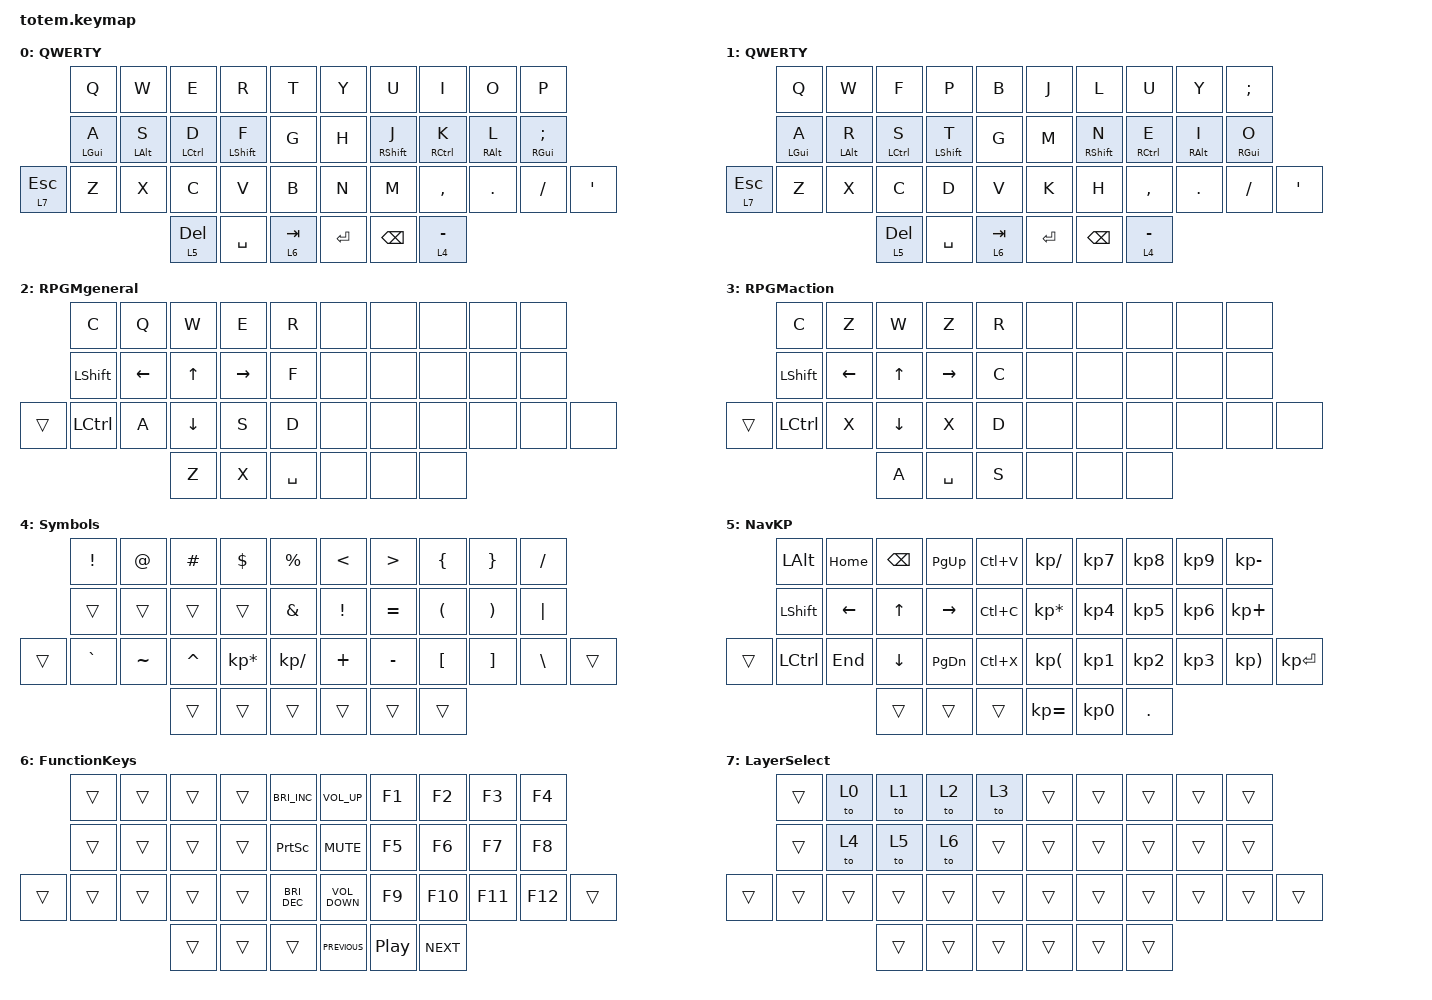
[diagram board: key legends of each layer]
//
//                                                        ▀▀▀▀▀     ▀▀▀▀▀          ▀▀█▀▀
//                                                        ▄▀▀▀▄  ▄  ▄▀▀▀▄  ▄  ▄▀▀▀▄  █  ▄▀▀▀▄
//                                                        █   █  █  █   █  █  █   █  █  █   █
//                                                         ▀▀▀   █   ▀▀▀   █   ▀▀▀   ▀   ▀▀▀
//                                                               █      ▄▄▄█▄▄▄    █   █  
//                                                               ▀      █  █  █     █▄█
//                                                             ▀▀▀▀▀    █  █  █      ▀
//                                                                      ▀  ▀  ▀
//
// ▄▄▄▄▄▄▄▄▄▄▄▄▄▄▄▄▄▄▄▄▄▄▄▄▄▄▄▄▄▄▄▄▄▄▄▄▄▄▄▄▄▄▄▄▄▄▄▄▄▄▄▄▄▄▄▄▄▄▄▄▄▄▄▄▄▄▄▄▄▄▄▄▄▄▄▄▄▄▄▄▄▄▄▄▄▄▄▄▄▄▄▄▄▄▄▄▄▄▄▄▄▄▄▄▄▄▄▄▄▄▄▄▄▄▄▄▄▄▄▄▄▄▄▄▄▄▄▄▄▄▄▄▄▄▄▄▄▄▄▄▄▄▄▄▄▄▄▄▄

#include <behaviors.dtsi>
#include <dt-bindings/zmk/keys.h>

#define Base        0
#define Nav         1
#define Sym         2
#define Fun         3
#define Game        4
#define Gameplus    5

&mt {
    quick-tap-ms = <100>;
    global-quick-tap;
    flavor = "tap-preferred";
    tapping-term-ms = <170>;
};

&lt {
    tapping-term-ms = <240>;
    flavor = "balanced";
    quick-tap-ms = <150>;
};

/ {
    behaviors {
        hm: homerow_mods {
            compatible = "zmk,behavior-hold-tap";
            label = "HOMEROW_MODS";
            #binding-cells = <2>;
            flavor = "tap-preferred";
            tapping-term-ms = <200>;
            quick-tap-ms = <125>;
            global-quick-tap;
            bindings = <&kp>, <&kp>;
        };
    };

    combos { compatible = "zmk,combos"; };

    keymap {
        compatible = "zmk,keymap";

        QWERTY {
            display-name = "QWERTY";
            bindings = <
              &kp Q       &kp W       &kp E         &kp R             &kp T        &kp Y    &kp U              &kp I        &kp O       &kp P
              &hm LGUI A  &hm LALT S  &hm LCTRL D   &hm LEFT_SHIFT F  &kp G        &kp H    &hm RIGHT_SHIFT J  &hm RCTRL K  &hm RALT L  &hm RGUI SEMICOLON
&lt 7 ESCAPE  &kp Z       &kp X       &kp C         &kp V             &kp B        &kp N    &kp M              &kp COMMA    &kp DOT     &kp SLASH           &kp APOSTROPHE
                                      &lt 5 DELETE  &kp SPACE         &lt 6 TAB    &kp RET  &kp BACKSPACE      &lt 4 MINUS
            >;

            label = "QWERTY";
        };

        ColemakDH {
            display-name = "QWERTY";
            bindings = <
              &kp Q       &kp W       &kp F         &kp P             &kp B        &kp J    &kp L              &kp U        &kp Y       &kp SEMI
              &hm LGUI A  &hm LALT R  &hm LCTRL S   &hm LEFT_SHIFT T  &kp G        &kp M    &hm RIGHT_SHIFT N  &hm RCTRL E  &hm RALT I  &hm RGUI O
&lt 7 ESCAPE  &kp Z       &kp X       &kp C         &kp D             &kp V        &kp K    &kp H              &kp COMMA    &kp DOT     &kp FSLH    &kp APOS
                                      &lt 5 DELETE  &kp SPACE         &lt 6 TAB    &kp RET  &kp BACKSPACE      &lt 4 MINUS
            >;

            label = "ColemakDH";
        };

        RPGMgeneral {
            bindings = <
        &kp C           &kp Q           &kp W           &kp E            &kp R        &none  &none  &none  &none  &none
        &kp LEFT_SHIFT  &kp LEFT_ARROW  &kp UP_ARROW    &kp RIGHT_ARROW  &kp F        &none  &none  &none  &none  &none
&trans  &kp LCTRL       &kp A           &kp DOWN_ARROW  &kp S            &kp D        &none  &none  &none  &none  &none  &none
                                        &kp Z           &kp X            &kp SPACE    &none  &none  &none
            >;

            label = "RPGMgeneral";
        };

        RPGMaction {
            bindings = <
        &kp C           &kp Z           &kp W           &kp Z            &kp R    &none  &none  &none  &none  &none
        &kp LEFT_SHIFT  &kp LEFT_ARROW  &kp UP_ARROW    &kp RIGHT_ARROW  &kp C    &none  &none  &none  &none  &none
&trans  &kp LCTRL       &kp X           &kp DOWN_ARROW  &kp X            &kp D    &none  &none  &none  &none  &none  &none
                                        &kp A           &kp SPACE        &kp S    &none  &none  &none
            >;

            label = "RPGMaction";
        };

        Symbols {
            display-name = "Symbols";
            bindings = <
        &kp EXCL   &kp AT     &kp HASH   &kp DOLLAR       &kp PERCENT      &kp LESS_THAN    &kp GREATER_THAN  &kp LEFT_BRACE        &kp RIGHT_BRACE        &kp SLASH
        &trans     &trans     &trans     &trans           &kp AMPERSAND    &kp EXCLAMATION  &kp EQUAL         &kp LEFT_PARENTHESIS  &kp RIGHT_PARENTHESIS  &kp PIPE
&trans  &kp GRAVE  &kp TILDE  &kp CARET  &kp KP_ASTERISK  &kp KP_DIVIDE    &kp PLUS         &kp MINUS         &kp LEFT_BRACKET      &kp RIGHT_BRACKET      &kp BACKSLASH  &trans
                              &trans     &trans           &trans           &trans           &trans            &trans
            >;
        };

        NavKP {
            display-name = "NavKP";
            bindings = <
        &kp LEFT_ALT    &kp HOME  &kp BACKSPACE   &kp PAGE_UP    &kp LC(V)    &kp KP_DIVIDE            &kp KP_NUMBER_7  &kp KP_NUMBER_8  &kp KP_NUMBER_9  &kp KP_MINUS
        &kp LEFT_SHIFT  &kp LEFT  &kp UP_ARROW    &kp RIGHT      &kp LC(C)    &kp KP_MULTIPLY          &kp KP_NUMBER_4  &kp KP_NUMBER_5  &kp KP_NUMBER_6  &kp KP_PLUS
&trans  &kp LCTRL       &kp END   &kp DOWN_ARROW  &kp PAGE_DOWN  &kp LC(X)    &kp KP_LEFT_PARENTHESIS  &kp KP_NUMBER_1  &kp KP_NUMBER_2  &kp KP_NUMBER_3  &kp KP_RIGHT_PARENTHESIS  &kp KP_ENTER
                                  &trans          &trans         &trans       &kp KP_EQUAL             &kp KP_NUMBER_0  &kp DOT
            >;
        };

        FunctionKeys {
            bindings = <
        &trans  &trans  &trans  &trans  &kp C_BRIGHTNESS_INC    &kp C_VOLUME_UP    &kp F1            &kp F2      &kp F3   &kp F4
        &trans  &trans  &trans  &trans  &kp PRINTSCREEN         &kp C_MUTE         &kp F5            &kp F6      &kp F7   &kp F8
&trans  &trans  &trans  &trans  &trans  &kp C_BRIGHTNESS_DEC    &kp C_VOLUME_DOWN  &kp F9            &kp F10     &kp F11  &kp F12  &trans
                        &trans  &trans  &trans                  &kp C_PREVIOUS     &kp C_PLAY_PAUSE  &kp C_NEXT
            >;

            label = "FunctionKeys";
        };

        LayerSelect {
            display-name = "LayerSelect";
            bindings = <
        &trans  &to 0   &to 1   &to 2   &to 3     &trans  &trans  &trans  &trans  &trans
        &trans  &to 4   &to 5   &to 6   &trans    &trans  &trans  &trans  &trans  &trans
&trans  &trans  &trans  &trans  &trans  &trans    &trans  &trans  &trans  &trans  &trans  &trans
                        &trans  &trans  &trans    &trans  &trans  &trans
            >;
        };
    };
};
